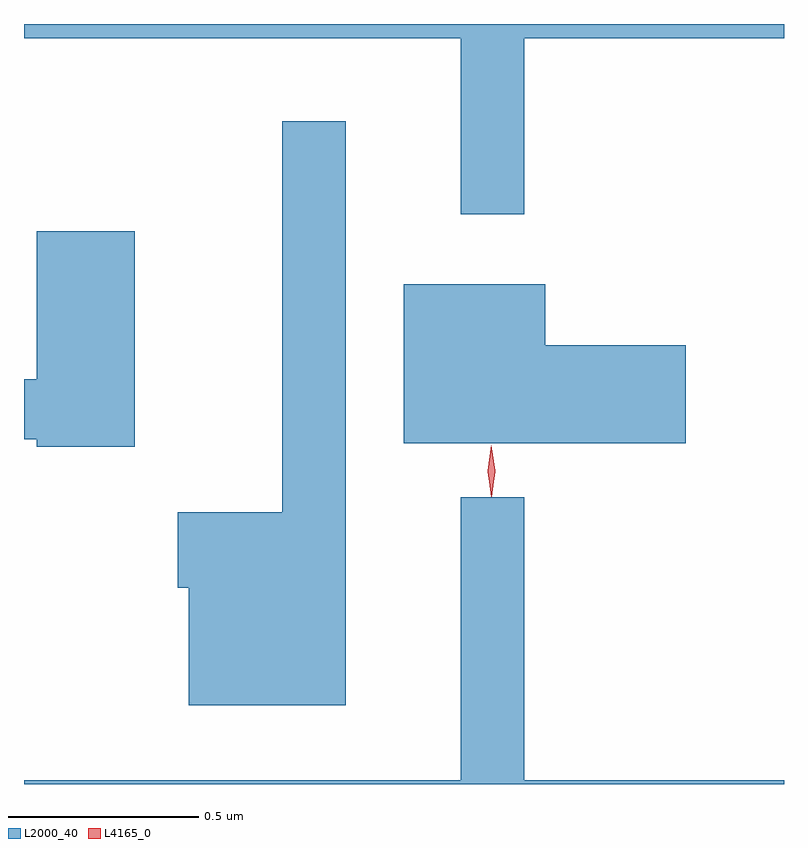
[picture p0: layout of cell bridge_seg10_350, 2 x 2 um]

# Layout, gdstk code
import gdstk
lib = gdstk.Library(unit=1e-6, precision=1e-09)
def P(c, l, *ps):  # polygons
    for p in ps: c.add(gdstk.Polygon(p, *l))
L2000_40 = (2000, 40)
L4165_0 = (4165, 0)

bridge_seg10_350 = lib.new_cell('bridge_seg10_350')
P(bridge_seg10_350, L2000_40, [(1450.869,2156.096),(1451.552,2156.096),(1451.552,2156.134),(1449.552,2156.134),(1449.552,2156.096),(1450.701,2156.096),(1450.701,2155.633),(1450.869,2155.633)],
  [(1450.399,2155.878),(1450.231,2155.878),(1450.231,2154.849),(1449.956,2154.849),(1449.956,2154.651),(1449.986,2154.651),(1449.986,2154.341),(1450.399,2154.341)],
  [(1449.844,2155.589),(1449.586,2155.589),(1449.586,2155.199),(1449.552,2155.199),(1449.552,2155.041),(1449.586,2155.041),(1449.586,2155.021),(1449.844,2155.021)],
  [(1451.294,2155.289),(1450.924,2155.289),(1450.924,2155.449),(1450.551,2155.449),(1450.551,2155.031),(1451.294,2155.031)],
  [(1451.552,2154.144),(1450.869,2154.144),(1450.869,2154.888),(1450.701,2154.888),(1450.701,2154.144),(1449.552,2154.144),(1449.552,2154.134),(1451.552,2154.134)])
P(bridge_seg10_350, L4165_0, [(1450.782,2154.89),(1450.782,2154.89),(1450.772,2154.958),(1450.781,2155.026),(1450.781,2155.026),(1450.782,2155.026),(1450.792,2154.958),(1450.783,2154.89)],
  [(1450.782,2154.893),(1450.782,2154.894),(1450.772,2154.956),(1450.782,2155.019),(1450.782,2155.02),(1450.782,2155.019),(1450.792,2154.956),(1450.783,2154.894)])

lib.write_gds('bridge_seg10_350.gds')
